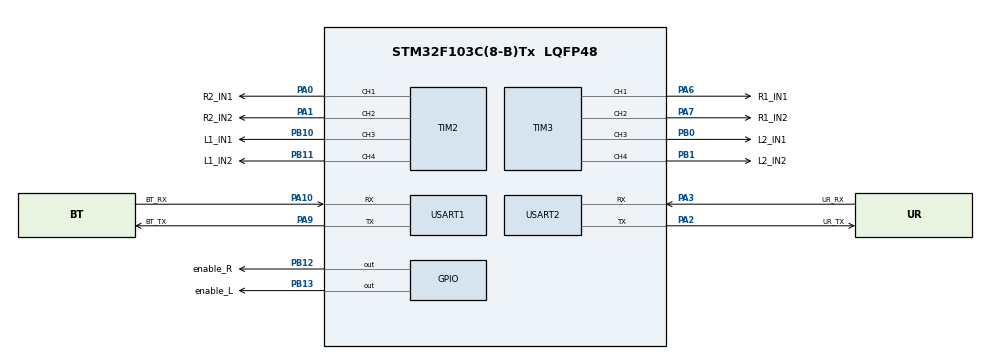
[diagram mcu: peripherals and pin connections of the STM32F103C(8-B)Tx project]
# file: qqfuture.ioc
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Mcu.Family=STM32F1
Mcu.Name=STM32F103C(8-B)Tx
Mcu.Package=LQFP48
NVIC.PriorityGroup=NVIC_PRIORITYGROUP_4
PA0-WKUP.GPIO_Label=R2_IN1
PA0-WKUP.Signal=S_TIM2_CH1_ETR
PA1.GPIO_Label=R2_IN2
PA1.Signal=S_TIM2_CH2
PA10.GPIO_Label=BT_RX
PA10.Mode=Asynchronous
PA10.Signal=USART1_RX
PA13.Mode=Serial_Wire
PA13.Signal=SYS_JTMS-SWDIO
PA14.Mode=Serial_Wire
PA14.Signal=SYS_JTCK-SWCLK
PA2.GPIO_Label=UR_TX
PA2.Mode=Asynchronous
PA2.Signal=USART2_TX
PA3.GPIO_Label=UR_RX
PA3.Mode=Asynchronous
PA3.Signal=USART2_RX
PA6.GPIO_Label=R1_IN1
PA6.Signal=S_TIM3_CH1
PA7.GPIO_Label=R1_IN2
PA7.Signal=S_TIM3_CH2
PA9.GPIO_Label=BT_TX
PA9.Mode=Asynchronous
PA9.Signal=USART1_TX
PB0.GPIO_Label=L2_IN1
PB0.Signal=S_TIM3_CH3
PB1.GPIO_Label=L2_IN2
PB1.Signal=S_TIM3_CH4
PB10.GPIO_Label=L1_IN1
PB10.Signal=S_TIM2_CH3
PB11.GPIO_Label=L1_IN2
PB11.Signal=S_TIM2_CH4
PB12.GPIO_Label=enable_R
PB12.Signal=GPIO_Output
PB13.GPIO_Label=enable_L
PB13.Signal=GPIO_Output
PD0-OSC_IN.Mode=HSE-External-Oscillator
PD0-OSC_IN.Signal=RCC_OSC_IN
PD1-OSC_OUT.Mode=HSE-External-Oscillator
PD1-OSC_OUT.Signal=RCC_OSC_OUT
ProjectManager.HeapSize=0x200
ProjectManager.StackSize=0x400
ProjectManager.TargetToolchain=MDK-ARM V5.32
RCC.APB1Freq_Value=8000000
RCC.APB2Freq_Value=8000000
SH.S_TIM2_CH1_ETR.0=TIM2_CH1,PWM Generation1 CH1
SH.S_TIM2_CH2.0=TIM2_CH2,PWM Generation2 CH2
SH.S_TIM2_CH3.0=TIM2_CH3,PWM Generation3 CH3
SH.S_TIM2_CH4.0=TIM2_CH4,PWM Generation4 CH4
SH.S_TIM3_CH1.0=TIM3_CH1,PWM Generation1 CH1
SH.S_TIM3_CH2.0=TIM3_CH2,PWM Generation2 CH2
SH.S_TIM3_CH3.0=TIM3_CH3,PWM Generation3 CH3
SH.S_TIM3_CH4.0=TIM3_CH4,PWM Generation4 CH4
TIM2.Channel-PWM\ Generation1\ CH1=TIM_CHANNEL_1
TIM2.Channel-PWM\ Generation2\ CH2=TIM_CHANNEL_2
TIM2.Channel-PWM\ Generation3\ CH3=TIM_CHANNEL_3
TIM2.Channel-PWM\ Generation4\ CH4=TIM_CHANNEL_4
TIM3.Channel-PWM\ Generation1\ CH1=TIM_CHANNEL_1
TIM3.Channel-PWM\ Generation2\ CH2=TIM_CHANNEL_2
TIM3.Channel-PWM\ Generation3\ CH3=TIM_CHANNEL_3
TIM3.Channel-PWM\ Generation4\ CH4=TIM_CHANNEL_4
USART1.VirtualMode=VM_ASYNC
USART2.VirtualMode=VM_ASYNC
board=custom

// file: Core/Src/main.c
/* USER CODE BEGIN Header */
/**
 ******************************************************************************
 * @file           : main.c
 * @brief          : Main program body
 ******************************************************************************
 * @attention
 *
 * Copyright (c) 2024 STMicroelectronics.
 * All rights reserved.
 *
 * This software is licensed under terms that can be found in the LICENSE file
 * in the root directory of this software component.
 * If no LICENSE file comes with this software, it is provided AS-IS.
 *
 ******************************************************************************
 */
/* USER CODE END Header */
#include "main.h"
#include "tim.h"
#include "usart.h"
#include "gpio.h"
/* USER CODE BEGIN Includes */
#include <stdio.h>
#include <rtthread.h>
/* USER CODE END Includes */

/* USER CODE BEGIN PD */
int SLOW_SPEED = 0.3 * 65536; // 100%?
int BASE_SPEED = 65536*0.35;
int STEERING_SPEED = 65536*0.8;

int now_mode = 0;
uint8_t c;                      //?? #:??  *:??
char forward[] = "Forward\n";   //????
char stop[] = "stop\n";         //????
char tips[] = "CommandError\n"; //??1
int stop_flag = 1;
int route_flags[4] = {0, 0, 0, 0};
int low_speed_flag = 0;

const int FORWARD = 1;
const int BACK = 2;
const int LEFT = 3;
const int RIGHT = 4;
const int LEFT_FORWARD =5;
const int LEFT_BACK = 6;
const int RIGHT_FORWARD = 7;
const int RIGHT_BACK = 8;
const int STOP = -1;
int state = -1;
int left_wheel_speed = 0;
int right_wheel_speed = 0;
/* USER CODE END PD */

void SystemClock_Config(void);

int main(void)
{

  /* MCU Configuration--------------------------------------------------------*/

  /* Reset of all peripherals, Initializes the Flash interface and the Systick. */
  HAL_Init();

  /* Configure the system clock */
  SystemClock_Config();

  /* Initialize all configured peripherals */

  MX_GPIO_Init();
  MX_TIM2_Init();
  MX_TIM3_Init();
  MX_USART1_UART_Init();
  MX_USART2_UART_Init();
  /* USER CODE BEGIN 2 */
  HAL_GPIO_WritePin(enable_L_GPIO_Port, enable_L_Pin, GPIO_PIN_SET);
  HAL_GPIO_WritePin(enable_R_GPIO_Port, enable_R_Pin, GPIO_PIN_SET);
  HAL_TIM_PWM_Start(&htim2, TIM_CHANNEL_1);
  HAL_TIM_PWM_Start(&htim2, TIM_CHANNEL_2);
  HAL_TIM_PWM_Start(&htim2, TIM_CHANNEL_3);
  HAL_TIM_PWM_Start(&htim2, TIM_CHANNEL_4);
  HAL_TIM_PWM_Start(&htim3, TIM_CHANNEL_1);
  HAL_TIM_PWM_Start(&htim3, TIM_CHANNEL_2);
  HAL_TIM_PWM_Start(&htim3, TIM_CHANNEL_3);
  HAL_TIM_PWM_Start(&htim3, TIM_CHANNEL_4);
  HAL_UART_Receive_IT(&huart1, &c, 1);

  /* USER CODE END 2 */

  /* Infinite loop */
  while (1)
  {
    rt_thread_mdelay(1000);
  }
}

void SystemClock_Config(void)
{
  RCC_OscInitTypeDef RCC_OscInitStruct = {0};
  RCC_ClkInitTypeDef RCC_ClkInitStruct = {0};

  /** Initializes the RCC Oscillators according to the specified parameters
   * in the RCC_OscInitTypeDef structure.
   */
  RCC_OscInitStruct.OscillatorType = RCC_OSCILLATORTYPE_HSI;
  RCC_OscInitStruct.HSIState = RCC_HSI_ON;
  RCC_OscInitStruct.HSICalibrationValue = RCC_HSICALIBRATION_DEFAULT;
  RCC_OscInitStruct.PLL.PLLState = RCC_PLL_NONE;
  if (HAL_RCC_OscConfig(&RCC_OscInitStruct) != HAL_OK)
  {
    Error_Handler();
  }

  /** Initializes the CPU, AHB and APB buses clocks
   */
  RCC_ClkInitStruct.ClockType = RCC_CLOCKTYPE_HCLK | RCC_CLOCKTYPE_SYSCLK | RCC_CLOCKTYPE_PCLK1 | RCC_CLOCKTYPE_PCLK2;
  RCC_ClkInitStruct.SYSCLKSource = RCC_SYSCLKSOURCE_HSI;
  RCC_ClkInitStruct.AHBCLKDivider = RCC_SYSCLK_DIV1;
  RCC_ClkInitStruct.APB1CLKDivider = RCC_HCLK_DIV1;
  RCC_ClkInitStruct.APB2CLKDivider = RCC_HCLK_DIV1;

  if (HAL_RCC_ClockConfig(&RCC_ClkInitStruct, FLASH_LATENCY_0) != HAL_OK)
  {
    Error_Handler();
  }
}

/* USER CODE BEGIN 4 */
void HAL_UART_RxCpltCallback(UART_HandleTypeDef *huart)
{
  if (huart == &huart1)
  {
    rt_kprintf("%c\n", c);
    int receivedInt = c - '0';
    rt_kprintf("%d\n", receivedInt);
    speedController(receivedInt);
    HAL_UART_Receive_IT(&huart1, &c, 1);
  }
}
// void testReceive(int actionId)
// {
//   char speed_message[64]; // 假设足够长以存放格式化后的信息
//   switch (actionId)
//   {
//   case 8:
//   {
//     // 取消后退
//     state = STOP;
//     left_wheel_speed = left_wheel_speed - BASE_SPEED;
//     right_wheel_speed = right_wheel_speed - BASE_SPEED;
//     rt_kprintf("车辆停止\n");
//     break;
//   }
//   case 7:
//   {
//     // 取消前进
//     state = STOP;
//     left_wheel_speed = left_wheel_speed - BASE_SPEED;
//     right_wheel_speed = right_wheel_speed - BASE_SPEED;
//     rt_kprintf("车辆停止\n");
//     break;
//   }
//   case 6:
//   {
//     // 取消右拐
//     left_wheel_speed = left_wheel_speed - TURNING_SPEED;
//     rt_kprintf("车辆停止右拐\n");
//     break;
//   }
//   case 5:
//   {
//     // 取消左拐
//     right_wheel_speed = right_wheel_speed - TURNING_SPEED;
//     rt_kprintf("车辆停止左拐\n");
//     break;
//   }
//   case 0:
//   {
//     // 停车
//     left_wheel_speed = 0;
//     right_wheel_speed = 0;
//     rt_kprintf("车辆停止\n");
//     state = STOP;
//     break;
//   }
//   case 1:
//   {
//     // 车辆左拐
//     right_wheel_speed = right_wheel_speed + TURNING_SPEED;
//     rt_kprintf("车辆左拐\n");
//     break;
//   }
//   case 2:
//   {
//     // 车辆右拐
//     left_wheel_speed = left_wheel_speed + TURNING_SPEED;
//     rt_kprintf("车辆右拐\n");
//     break;
//   }
//   case 3:
//   {
//     // 车辆前进
//     state = FORWARD;
//     left_wheel_speed = left_wheel_speed + BASE_SPEED;
//     right_wheel_speed = right_wheel_speed + BASE_SPEED;
//     rt_kprintf("车辆前进\n");
//     break;
//   }
//   case 4:
//   {
//     // 车辆后退
//     state = BACK;
//     left_wheel_speed = left_wheel_speed + BASE_SPEED;
//     right_wheel_speed = right_wheel_speed + BASE_SPEED;
//     rt_kprintf("车辆后退\n");
//     break;
//   }
//   }
//   snprintf(speed_message, sizeof(speed_message), "左轮速度：%d 右轮速度：%d\n", left_wheel_speed, right_wheel_speed);

//   rt_kprintf(speed_message);
// }
void speedController(int actionId)
{
  char speed_message[64]; // 假设足够长以存放格式化后的信息
  //车辆运行状态机
  switch (actionId)
  {
  case 8:
  {
    // 取消后退
    if (state == LEFT_BACK){
			state = LEFT;
		}else if (state == RIGHT_BACK){
			state = RIGHT;
		}else {
			state = STOP;
		}
    rt_kprintf("车辆停止\n");
    break;
  }
  case 7:
  {
    // 取消前进
    if (state == LEFT_FORWARD){
			state = LEFT;
		}else if (state == RIGHT_FORWARD){
			state = RIGHT;
		}else {
			state = STOP;
		}
    rt_kprintf("车辆停止\n");
    break;
  }
  case 6:
  {
    // 取消右拐
    if (state == RIGHT_FORWARD){
			state = FORWARD;
		}else if (state == RIGHT_BACK){
			state = BACK;
		}else {
			state = STOP;
		}
    rt_kprintf("车辆停止右拐\n");
    break;
  }
  case 5:
  {
    // 取消左拐
		if (state == LEFT_FORWARD){
			state = FORWARD;
		}else if (state == LEFT_BACK){
			state = BACK;
		}else {
			state = STOP;
		}
    rt_kprintf("车辆停止左拐\n");
    break;
  }
  case 0:
  {
    // 停车
    left_wheel_speed = 0;
    right_wheel_speed = 0;
    rt_kprintf("车辆停止\n");
    state = STOP;
    break;
  }
  case 1:
  {
    // 车辆左拐
		if (state == FORWARD){
			state = LEFT_FORWARD;
		}else if (state == BACK){
			state = LEFT_BACK;
		}else {
			state = LEFT;
		}
    rt_kprintf("车辆左拐\n");
    break;
  }
  case 2:
  {
    // 车辆右拐
		if (state == FORWARD){
			state = RIGHT_FORWARD;
		}else if (state == BACK){
			state = RIGHT_BACK;
		}else {
			state = RIGHT;
		}
    rt_kprintf("车辆右拐\n");
    break;
  }
  case 3:
  {
    // 车辆前进
    if (state == LEFT){
      state = LEFT_FORWARD;
    }
    else if (state == RIGHT){
      state = RIGHT_FORWARD;
    }
    else {
      state = FORWARD;
    }
    rt_kprintf("车辆前进\n");
    break;
  }
  case 4:
  {
    // 车辆后退
    if (state == LEFT){
      state = LEFT_BACK;
    }
    else if (state == RIGHT){
      state = RIGHT_BACK;
    }
    else {
      state = BACK;
    }
    rt_kprintf("车辆后退\n");
    break;
  }
  }
  rt_kprintf("状态：%d\n",state);
  //处理状态
  switch (state)
  {
    case FORWARD:{
      set_speed(1,BASE_SPEED,1);
      set_speed(2,BASE_SPEED,1);
      set_speed(3,BASE_SPEED,1);
      set_speed(4,BASE_SPEED,1);
      rt_kprintf("车辆前进\n");
      break;
    }
    case LEFT:{
      set_speed(1,BASE_SPEED,1);
      set_speed(2,BASE_SPEED,1);
      set_speed(3,BASE_SPEED,0);
      set_speed(4,BASE_SPEED,0);
      rt_kprintf("车辆左转\n");
      break;
    }
    case BACK:{
      set_speed(1,BASE_SPEED,0);
      set_speed(2,BASE_SPEED,0);
      set_speed(3,BASE_SPEED,0);
      set_speed(4,BASE_SPEED,0);
      rt_kprintf("车辆后退\n");
      break;
    }
    case RIGHT:{
      set_speed(1,BASE_SPEED,0);
      set_speed(2,BASE_SPEED,0);
      set_speed(3,BASE_SPEED,1);
      set_speed(4,BASE_SPEED,1);
      rt_kprintf("车辆右转\n");
      break;
    }
    case LEFT_FORWARD:{
      set_speed(1,STEERING_SPEED,1);
      set_speed(2,STEERING_SPEED,1);
      set_speed(3,SLOW_SPEED,1);
      set_speed(4,SLOW_SPEED,1);
      rt_kprintf("车辆左前方\n");
      break;
    }
    case LEFT_BACK:{
      set_speed(1,SLOW_SPEED,0);
      set_speed(2,SLOW_SPEED,0);
      set_speed(3,STEERING_SPEED,0);
      set_speed(4,STEERING_SPEED,0);
      rt_kprintf("车辆左后方\n");
      break;
    }
    case RIGHT_FORWARD:{
      set_speed(1,SLOW_SPEED,1);
      set_speed(2,SLOW_SPEED,1);
      set_speed(3,STEERING_SPEED,1);
      set_speed(4,STEERING_SPEED,1);
      rt_kprintf("车辆右前方\n");
      break;
    }
    case RIGHT_BACK:{
      set_speed(1,STEERING_SPEED,0);
      set_speed(2,STEERING_SPEED,0);
      set_speed(3,BASE_SPEED,0);
      set_speed(4,BASE_SPEED,0);
      rt_kprintf("车辆右后方\n");
      break;
    }
    case STOP:{
      set_speed(1,0,0);
      set_speed(2,0,0);
      set_speed(3,0,0);
      set_speed(4,0,0);
      rt_kprintf("车辆停止\n");
      break;
    }
    default:{
      set_speed(1,0,0);
      set_speed(2,0,0);
      set_speed(3,0,0);
      set_speed(4,0,0);
      rt_kprintf("车辆停止\n");
    }
  }

}
void set_speed(int i, int speed, int dir)
{
  switch (i)
  {
  case 1:
  {
    if (dir == 0)
    {
      __HAL_TIM_SET_COMPARE(&htim2, TIM_CHANNEL_3, speed);
      __HAL_TIM_SET_COMPARE(&htim2, TIM_CHANNEL_4, 0);
    }
    else
    {
      __HAL_TIM_SET_COMPARE(&htim2, TIM_CHANNEL_4, speed);
      __HAL_TIM_SET_COMPARE(&htim2, TIM_CHANNEL_3, 0);
    }
    break;
  }
  case 2:
  {
    if (dir == 0)
    {
      __HAL_TIM_SET_COMPARE(&htim3, TIM_CHANNEL_3, speed);
      __HAL_TIM_SET_COMPARE(&htim3, TIM_CHANNEL_4, 0);
    }
    else
    {
      __HAL_TIM_SET_COMPARE(&htim3, TIM_CHANNEL_4, speed);
      __HAL_TIM_SET_COMPARE(&htim3, TIM_CHANNEL_3, 0);
    }
    break;
  }
  case 3:
  {
    if (dir == 0)
    {
      __HAL_TIM_SET_COMPARE(&htim3, TIM_CHANNEL_1, speed);
      __HAL_TIM_SET_COMPARE(&htim3, TIM_CHANNEL_2, 0);
    }
    else
    {
      __HAL_TIM_SET_COMPARE(&htim3, TIM_CHANNEL_2, speed);
      __HAL_TIM_SET_COMPARE(&htim3, TIM_CHANNEL_1, 0);
    }
    break;
  }
  case 4:
  {
    if (dir == 0)
    {
      __HAL_TIM_SET_COMPARE(&htim2, TIM_CHANNEL_1, speed);
      __HAL_TIM_SET_COMPARE(&htim2, TIM_CHANNEL_2, 0);
    }
    else
    {
      __HAL_TIM_SET_COMPARE(&htim2, TIM_CHANNEL_2, speed);
      __HAL_TIM_SET_COMPARE(&htim2, TIM_CHANNEL_1, 0);
    }
    break;
  }
  }
}
/* USER CODE END 4 */

void Error_Handler(void)
{
  __disable_irq();
  while (1)
  {
  }
}
